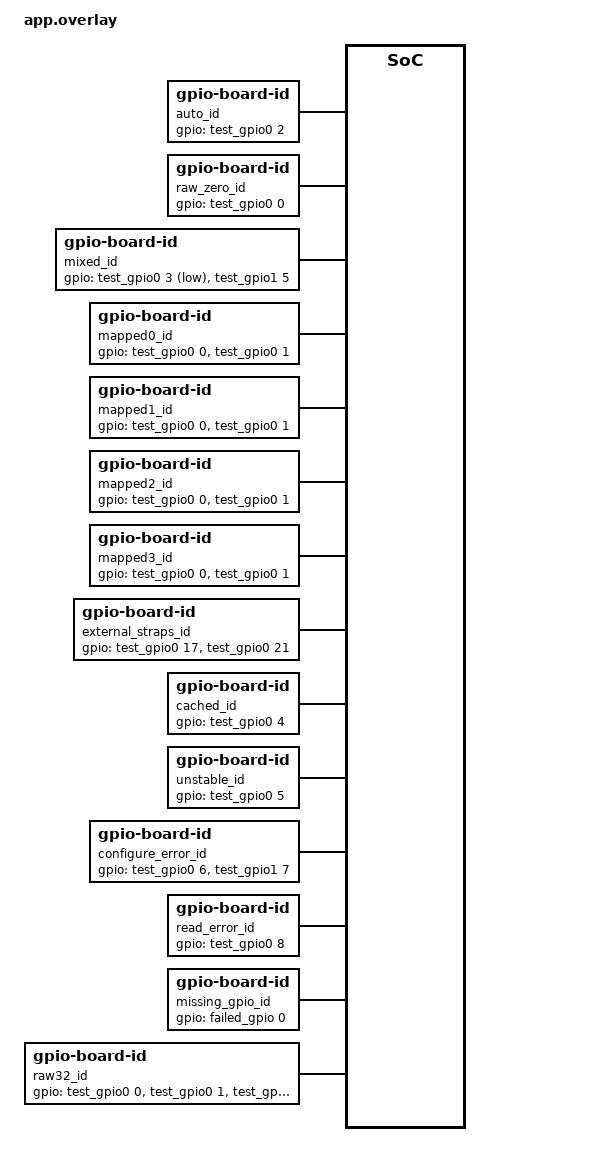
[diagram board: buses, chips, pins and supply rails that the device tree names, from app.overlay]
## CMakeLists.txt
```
# SPDX-License-Identifier: Apache-2.0
cmake_minimum_required(VERSION 3.20.0)
find_package(Zephyr REQUIRED HINTS $ENV{ZEPHYR_BASE})
project(board_id_gpio)
target_sources(app PRIVATE src/main.c)
```

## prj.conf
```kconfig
CONFIG_ZTEST=y
CONFIG_GPIO=y
CONFIG_BOARD_ID_GPIO=y
```

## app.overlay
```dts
/* SPDX-License-Identifier: Apache-2.0 */
#include <zephyr/dt-bindings/gpio/gpio.h>

/ {
	test_gpio0: board-id-gpio0 {
		compatible = "vnd,board-id-test-gpio";
		gpio-controller;
		#gpio-cells = <2>;
		ngpios = <32>;
	};
	test_gpio1: board-id-gpio1 {
		compatible = "vnd,board-id-test-gpio";
		gpio-controller;
		#gpio-cells = <2>;
		ngpios = <32>;
	};
	failed_gpio: board-id-failed-gpio {
		compatible = "vnd,board-id-test-gpio";
		gpio-controller;
		#gpio-cells = <2>;
		ngpios = <32>;
		fail-init;
	};

	auto_id: auto-id {
		compatible = "gpio-board-id";
		gpios = <&test_gpio0 2 GPIO_ACTIVE_HIGH>;
	};
	raw_zero_id: raw-zero-id {
		compatible = "gpio-board-id";
		gpios = <&test_gpio0 0 GPIO_ACTIVE_HIGH>;
		zephyr,deferred-init;
	};
	mixed_id: mixed-id {
		compatible = "gpio-board-id";
		gpios = <&test_gpio0 3 (GPIO_ACTIVE_LOW | GPIO_PULL_UP)>,
			<&test_gpio1 5 (GPIO_ACTIVE_HIGH | GPIO_PULL_DOWN)>;
		zephyr,deferred-init;
	};
	mapped0_id: mapped0-id {
		compatible = "gpio-board-id";
		gpios = <&test_gpio0 0 GPIO_ACTIVE_HIGH>, <&test_gpio0 1 GPIO_ACTIVE_HIGH>;
		id-values = <4 2 1 3>;
		zephyr,deferred-init;
	};
	mapped1_id: mapped1-id {
		compatible = "gpio-board-id";
		gpios = <&test_gpio0 0 GPIO_ACTIVE_HIGH>, <&test_gpio0 1 GPIO_ACTIVE_HIGH>;
		id-values = <4 2 1 3>;
		zephyr,deferred-init;
	};
	mapped2_id: mapped2-id {
		compatible = "gpio-board-id";
		gpios = <&test_gpio0 0 GPIO_ACTIVE_HIGH>, <&test_gpio0 1 GPIO_ACTIVE_HIGH>;
		id-values = <4 2 1 3>;
		zephyr,deferred-init;
	};
	mapped3_id: mapped3-id {
		compatible = "gpio-board-id";
		gpios = <&test_gpio0 0 GPIO_ACTIVE_HIGH>, <&test_gpio0 1 GPIO_ACTIVE_HIGH>;
		id-values = <4 2 1 3>;
		zephyr,deferred-init;
	};
	external_straps_id: external-straps-id {
		compatible = "gpio-board-id";
		/* Go 4 straps use external bias on GPIO17 and GPIO21. */
		gpios = <&test_gpio0 17 GPIO_ACTIVE_HIGH>, <&test_gpio0 21 GPIO_ACTIVE_HIGH>;
		id-values = <4 2 1 3>;
		sample-count = <3>;
		sample-interval-us = <10>;
		zephyr,deferred-init;
	};
	cached_id: cached-id {
		compatible = "gpio-board-id";
		gpios = <&test_gpio0 4 GPIO_ACTIVE_HIGH>;
		sample-count = <3>;
		sample-interval-us = <10>;
		zephyr,deferred-init;
	};
	unstable_id: unstable-id {
		compatible = "gpio-board-id";
		gpios = <&test_gpio0 5 GPIO_ACTIVE_HIGH>;
		sample-count = <3>;
		zephyr,deferred-init;
	};
	configure_error_id: configure-error-id {
		compatible = "gpio-board-id";
		gpios = <&test_gpio0 6 GPIO_ACTIVE_HIGH>, <&test_gpio1 7 GPIO_ACTIVE_HIGH>;
		zephyr,deferred-init;
	};
	read_error_id: read-error-id {
		compatible = "gpio-board-id";
		gpios = <&test_gpio0 8 GPIO_ACTIVE_HIGH>;
		sample-count = <3>;
		zephyr,deferred-init;
	};
	missing_gpio_id: missing-gpio-id {
		compatible = "gpio-board-id";
		gpios = <&failed_gpio 0 GPIO_ACTIVE_HIGH>;
		zephyr,deferred-init;
	};
	raw32_id: raw32-id {
		compatible = "gpio-board-id";
		gpios = <&test_gpio0 0 GPIO_ACTIVE_HIGH>, <&test_gpio0 1 GPIO_ACTIVE_HIGH>,
			<&test_gpio0 2 GPIO_ACTIVE_HIGH>, <&test_gpio0 3 GPIO_ACTIVE_HIGH>,
			<&test_gpio0 4 GPIO_ACTIVE_HIGH>, <&test_gpio0 5 GPIO_ACTIVE_HIGH>,
			<&test_gpio0 6 GPIO_ACTIVE_HIGH>, <&test_gpio0 7 GPIO_ACTIVE_HIGH>,
			<&test_gpio0 8 GPIO_ACTIVE_HIGH>, <&test_gpio0 9 GPIO_ACTIVE_HIGH>,
			<&test_gpio0 10 GPIO_ACTIVE_HIGH>, <&test_gpio0 11 GPIO_ACTIVE_HIGH>,
			<&test_gpio0 12 GPIO_ACTIVE_HIGH>, <&test_gpio0 13 GPIO_ACTIVE_HIGH>,
			<&test_gpio0 14 GPIO_ACTIVE_HIGH>, <&test_gpio0 15 GPIO_ACTIVE_HIGH>,
			<&test_gpio0 16 GPIO_ACTIVE_HIGH>, <&test_gpio0 17 GPIO_ACTIVE_HIGH>,
			<&test_gpio0 18 GPIO_ACTIVE_HIGH>, <&test_gpio0 19 GPIO_ACTIVE_HIGH>,
			<&test_gpio0 20 GPIO_ACTIVE_HIGH>, <&test_gpio0 21 GPIO_ACTIVE_HIGH>,
			<&test_gpio0 22 GPIO_ACTIVE_HIGH>, <&test_gpio0 23 GPIO_ACTIVE_HIGH>,
			<&test_gpio0 24 GPIO_ACTIVE_HIGH>, <&test_gpio0 25 GPIO_ACTIVE_HIGH>,
			<&test_gpio0 26 GPIO_ACTIVE_HIGH>, <&test_gpio0 27 GPIO_ACTIVE_HIGH>,
			<&test_gpio0 28 GPIO_ACTIVE_HIGH>, <&test_gpio0 29 GPIO_ACTIVE_HIGH>,
			<&test_gpio0 30 GPIO_ACTIVE_HIGH>, <&test_gpio0 31 GPIO_ACTIVE_HIGH>;
		zephyr,deferred-init;
	};
};
```

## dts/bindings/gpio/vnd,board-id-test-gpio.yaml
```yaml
# SPDX-License-Identifier: Apache-2.0
description: Scripted GPIO controller for board ID driver tests
compatible: "vnd,board-id-test-gpio"
include: [base.yaml, gpio-controller.yaml]
properties:
  fail-init:
    type: boolean
    description: Return ENODEV from controller initialization.
gpio-cells:
  - pin
  - flags
```

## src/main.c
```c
/* SPDX-License-Identifier: Apache-2.0 */
#include <errno.h>
#include <string.h>
#include <zephyr/device.h>
#include <zephyr/drivers/board_id.h>
#include <zephyr/drivers/gpio.h>
#include <zephyr/drivers/gpio/gpio_utils.h>
#include <zephyr/ztest.h>

/* The production board-ID device uses the real GPIO API against a scripted
 * controller. Errors and changing straps are deterministic, without hooks in
 * the board-ID driver or direct access to its private state. */
#define DT_DRV_COMPAT vnd_board_id_test_gpio

struct test_gpio_config {
	struct gpio_driver_config common;
	bool fail_init;
};

struct test_gpio_data {
	struct gpio_driver_data common;
	gpio_flags_t flags[32];
	gpio_port_value_t input;
	gpio_port_value_t sequence[3];
	unsigned int sequence_count;
	unsigned int configurations;
	unsigned int reads;
	int configure_result;
	int read_result;
};

enum event {
	CONFIGURE,
	READ
};
static enum event events[80];
static unsigned int event_count;

static void record_event(enum event event)
{
	if (event_count < ARRAY_SIZE(events)) {
		events[event_count++] = event;
	}
}

static int test_gpio_configure(const struct device *dev, gpio_pin_t pin, gpio_flags_t flags)
{
	struct test_gpio_data *data = dev->data;

	record_event(CONFIGURE);
	data->configurations++;
	data->flags[pin] = flags;
	return data->configure_result;
}

static int test_gpio_get_raw(const struct device *dev, gpio_port_value_t *value)
{
	struct test_gpio_data *data = dev->data;
	unsigned int index = data->reads++;

	record_event(READ);
	if (data->read_result) {
		return data->read_result;
	}
	*value = index < data->sequence_count ? data->sequence[index] : data->input;
	return 0;
}

static int test_gpio_init(const struct device *dev)
{
	const struct test_gpio_config *config = dev->config;

	return config->fail_init ? -ENODEV : 0;
}

static DEVICE_API(gpio, test_gpio_api) = {
	.pin_configure = test_gpio_configure,
	.port_get_raw = test_gpio_get_raw,
};

#define TEST_GPIO_DEFINE(inst)                                                                     \
	static struct test_gpio_data test_gpio_data_##inst;                                        \
	static const struct test_gpio_config test_gpio_config_##inst = {                           \
		.common = GPIO_COMMON_CONFIG_FROM_DT_INST(inst),                                   \
		.fail_init = DT_INST_PROP(inst, fail_init),                                        \
	};                                                                                         \
	DEVICE_DT_INST_DEFINE(inst, test_gpio_init, NULL, &test_gpio_data_##inst,                  \
			      &test_gpio_config_##inst, PRE_KERNEL_1, CONFIG_GPIO_INIT_PRIORITY,   \
			      &test_gpio_api);
DT_INST_FOREACH_STATUS_OKAY(TEST_GPIO_DEFINE)

#define ID(name) DEVICE_DT_GET(DT_NODELABEL(name))
static const struct device *const port0 = DEVICE_DT_GET(DT_NODELABEL(test_gpio0));
static const struct device *const port1 = DEVICE_DT_GET(DT_NODELABEL(test_gpio1));

static struct test_gpio_data *gpio_data(const struct device *dev)
{
	return dev->data;
}

static void before(void *unused)
{
	ARG_UNUSED(unused);
	memset(gpio_data(port0), 0, sizeof(struct test_gpio_data));
	memset(gpio_data(port1), 0, sizeof(struct test_gpio_data));
	event_count = 0;
}

static void assert_id(const struct device *dev, uint32_t expected)
{
	uint32_t actual = UINT32_MAX;

	zassert_ok(board_id_get(dev, &actual));
	zassert_equal(actual, expected);
}

static void assert_failed_without_resampling(const struct device *dev, unsigned int reads)
{
	uint32_t value = 0x12345678;
	unsigned int configurations = gpio_data(port0)->configurations;

	zassert_false(device_is_ready(dev));
	zassert_equal(board_id_get(dev, &value), -ENODEV);
	zassert_equal(value, 0x12345678);
	zassert_equal(device_init(dev), -EALREADY);
	zassert_equal(gpio_data(port0)->reads, reads);
	zassert_equal(gpio_data(port0)->configurations, configurations);
}

ZTEST(board_id_gpio, test_automatic_initialization)
{
	zassert_true(device_is_ready(ID(auto_id)));
	assert_id(ID(auto_id), 0);
	zassert_equal(device_init(ID(auto_id)), -EALREADY);
	zassert_equal(event_count, 0);
}

ZTEST(board_id_gpio, test_deferred_raw_zero_and_argument_validation)
{
	uint32_t value = UINT32_MAX;

	zassert_equal(board_id_get(NULL, &value), -EINVAL);
	zassert_equal(board_id_get(ID(raw_zero_id), NULL), -EINVAL);
	zassert_false(device_is_ready(ID(raw_zero_id)));
	zassert_equal(board_id_get(ID(raw_zero_id), &value), -ENODEV);
	zassert_equal(value, UINT32_MAX);
	zassert_equal(event_count, 0);
	zassert_ok(device_init(ID(raw_zero_id)));
	assert_id(ID(raw_zero_id), 0);
	zassert_equal(gpio_data(port0)->configurations, 1);
	zassert_equal(gpio_data(port0)->flags[0], GPIO_INPUT);
	zassert_equal(gpio_data(port0)->reads, 1);
}

ZTEST(board_id_gpio, test_mapping_all_four_patterns)
{
	const struct device *const devices[] = {
		ID(mapped0_id),
		ID(mapped1_id),
		ID(mapped2_id),
		ID(mapped3_id),
	};
	const uint32_t expected[] = {4, 2, 1, 3};

	for (unsigned int i = 0; i < ARRAY_SIZE(devices); ++i) {
		gpio_data(port0)->input = i;
		zassert_ok(device_init(devices[i]));
		assert_id(devices[i], expected[i]);
	}
}

ZTEST(board_id_gpio, test_polarity_flags_and_mixed_controllers)
{
	gpio_data(port0)->input = 0;
	gpio_data(port1)->input = BIT(5);
	zassert_ok(device_init(ID(mixed_id)));
	assert_id(ID(mixed_id), 3);
	zassert_equal(gpio_data(port0)->flags[3] & GPIO_DIR_MASK, GPIO_INPUT);
	zassert_true(gpio_data(port0)->flags[3] & GPIO_PULL_UP);
	zassert_equal(gpio_data(port1)->flags[5] & GPIO_DIR_MASK, GPIO_INPUT);
	zassert_true(gpio_data(port1)->flags[5] & GPIO_PULL_DOWN);
	zassert_equal(event_count, 4);
	zassert_equal(events[0], CONFIGURE);
	zassert_equal(events[1], CONFIGURE);
	zassert_equal(events[2], READ);
	zassert_equal(events[3], READ);
}

ZTEST(board_id_gpio, test_external_straps_request_no_pull_before_sampling)
{
	gpio_data(port0)->input = BIT(21);
	zassert_ok(device_init(ID(external_straps_id)));
	assert_id(ID(external_straps_id), 1);
	zassert_equal(gpio_data(port0)->flags[17], GPIO_INPUT);
	zassert_equal(gpio_data(port0)->flags[21], GPIO_INPUT);
	zassert_equal(gpio_data(port0)->configurations, 2);
	zassert_equal(gpio_data(port0)->reads, 6);
	zassert_equal(event_count, 8);
	zassert_equal(events[0], CONFIGURE);
	zassert_equal(events[1], CONFIGURE);
	for (unsigned int i = 2; i < event_count; ++i) {
		zassert_equal(events[i], READ);
	}
}

ZTEST(board_id_gpio, test_full_32_bit_identifier)
{
	gpio_data(port0)->input = 0xa5a55a5a;
	zassert_ok(device_init(ID(raw32_id)));
	assert_id(ID(raw32_id), 0xa5a55a5a);
	zassert_equal(gpio_data(port0)->configurations, 32);
	zassert_equal(gpio_data(port0)->reads, 32);
}

ZTEST(board_id_gpio, test_stable_sampling_caches_identity)
{
	gpio_data(port0)->input = BIT(4);
	zassert_ok(device_init(ID(cached_id)));
	assert_id(ID(cached_id), 1);
	zassert_equal(gpio_data(port0)->reads, 3);
	gpio_data(port0)->input = 0;
	assert_id(ID(cached_id), 1);
	zassert_equal(device_init(ID(cached_id)), -EALREADY);
	zassert_equal(gpio_data(port0)->reads, 3);
	zassert_equal(gpio_data(port0)->configurations, 1);
}

ZTEST(board_id_gpio, test_unstable_input_failure_is_cached)
{
	gpio_data(port0)->sequence[0] = 0;
	gpio_data(port0)->sequence[1] = BIT(5);
	gpio_data(port0)->sequence_count = 2;
	zassert_equal(device_init(ID(unstable_id)), -EAGAIN);
	zassert_equal(gpio_data(port0)->reads, 2);
	assert_failed_without_resampling(ID(unstable_id), 2);
}

ZTEST(board_id_gpio, test_configuration_error_stops_before_sampling)
{
	gpio_data(port1)->configure_result = -ENOTSUP;
	zassert_equal(device_init(ID(configure_error_id)), -ENOTSUP);
	zassert_equal(gpio_data(port0)->configurations, 1);
	zassert_equal(gpio_data(port1)->configurations, 1);
	zassert_equal(gpio_data(port0)->reads, 0);
	zassert_equal(gpio_data(port1)->reads, 0);
	assert_failed_without_resampling(ID(configure_error_id), 0);
}

ZTEST(board_id_gpio, test_read_error_propagates)
{
	gpio_data(port0)->read_result = -EIO;
	zassert_equal(device_init(ID(read_error_id)), -EIO);
	assert_failed_without_resampling(ID(read_error_id), 1);
}

ZTEST(board_id_gpio, test_unready_gpio_is_rejected)
{
	zassert_equal(device_init(ID(missing_gpio_id)), -ENODEV);
	zassert_equal(event_count, 0);
	assert_failed_without_resampling(ID(missing_gpio_id), 0);
}

ZTEST_SUITE(board_id_gpio, NULL, NULL, before, NULL, NULL);
```
